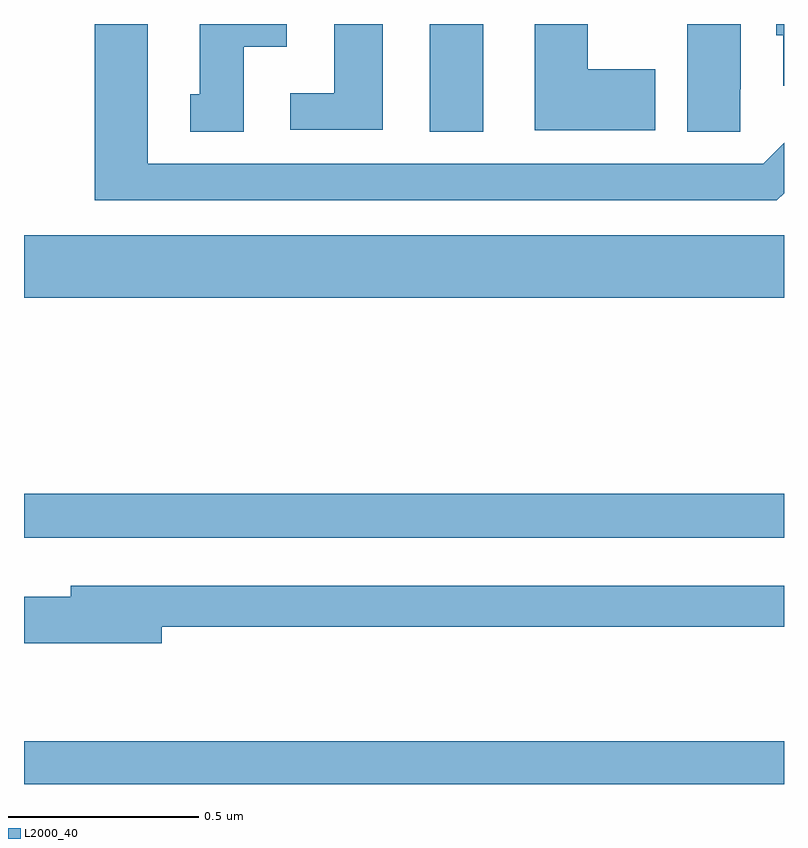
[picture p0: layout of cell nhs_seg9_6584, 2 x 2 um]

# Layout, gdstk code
import gdstk
lib = gdstk.Library(unit=1e-6, precision=1e-09)
def R(c, l, rs):  # rectangles x0, y0, x1, y1
    for r in rs: c.add(gdstk.rectangle(r[:2], r[2:], *l))
def P(c, l, *ps):  # polygons
    for p in ps: c.add(gdstk.Polygon(p, *l))
L2000_40 = (2000, 40)

nhs_seg9_6584 = lib.new_cell('nhs_seg9_6584')
R(nhs_seg9_6584, L2000_40, [(194,1168.5,196,1168.612), (194,1169.148,196,1169.264), (194,1169.78,196,1169.944), (195.068,1170.217,195.208,1170.5)])
P(nhs_seg9_6584, L2000_40, [(194.944,1170.5),(194.816,1170.5),(194.816,1170.318),(194.7,1170.318),(194.7,1170.222),(194.944,1170.222)],
  [(195.885,1170.328),(195.886,1170.328),(195.886,1170.5),(195.746,1170.5),(195.746,1170.217),(195.885,1170.217)],
  [(195.661,1170.381),(195.484,1170.381),(195.484,1170.5),(195.344,1170.5),(195.344,1170.221),(195.661,1170.221)],
  [(196,1170.055),(196,1170.187),(195.945,1170.132),(194.326,1170.132),(194.326,1170.5),(194.186,1170.5),(194.186,1170.036),(195.981,1170.036)],
  [(194.578,1170.44),(194.692,1170.44),(194.692,1170.5),(194.462,1170.5),(194.462,1170.315),(194.438,1170.315),(194.438,1170.217),(194.578,1170.217)],
  [(196,1170.5),(195.98,1170.5),(195.98,1170.471),(195.998,1170.471),(195.998,1170.338),(196,1170.338)],
  [(194.362,1168.914),(196,1168.914),(196,1169.022),(194.123,1169.022),(194.123,1168.993),(194,1168.993),(194,1168.871),(194.362,1168.871)])

lib.write_gds('nhs_seg9_6584.gds')
